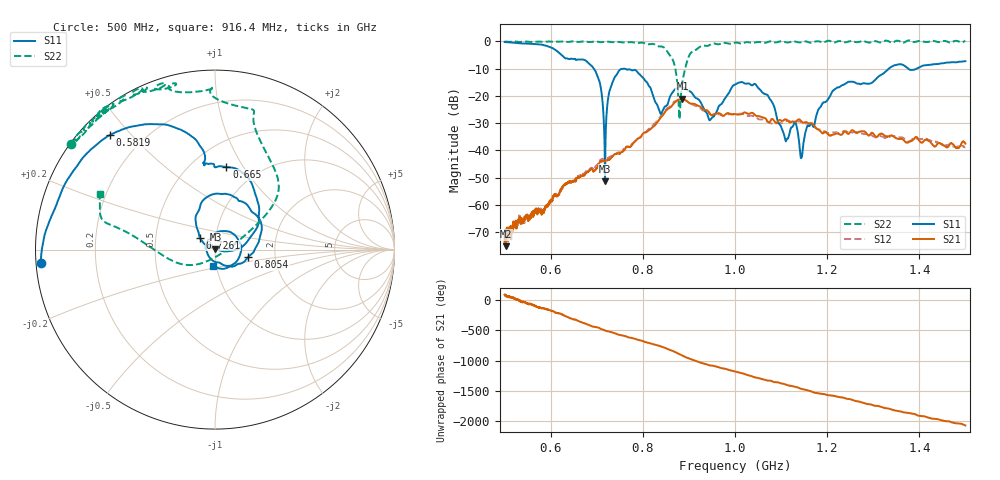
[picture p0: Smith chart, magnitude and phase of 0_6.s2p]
!Agilent Technologies,E8364B,US42250235,A.06.04.32
!Agilent E8364B: A.06.04.32
!Date: Thursday, October 01, 2020 15:42:13
!Correction: S11(Full 2 Port(1,2)) S21(Full 2 Port(1,2)) S12(Full 2 Port(1,2)) S22(Full 2 Port(1,2))
!S2P File: Measurements: S11, S21, S12, S22:
# Hz S  dB  R 50
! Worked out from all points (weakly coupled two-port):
!   2650 points, 500 MHz to 1.5 GHz, reference 50 ohm
!   highest |S21| = -21.07 dB at 885.8 MHz (marker M1); lowest = -75.2 dB at 502.6 MHz (marker M2)
!   lowest |S11| = -51.3 dB at 717.8 MHz (marker M3), VSWR 1.01, Z = 50.2 + j0.154 ohm
!   |S11| at or under -10 dB: 693.5 MHz to 757.8 MHz (64.24 MHz wide, 8.85 % of centre); 760.4 MHz to 1.334 GHz (573.4 MHz wide, 54.8 % of centre); 1.376 GHz to 1.394 GHz (17.96 MHz wide, 1.3 % of centre)
!   |S22| runs from -28.6 to 0.4 dB; largest |S21 - S12| = 0.017
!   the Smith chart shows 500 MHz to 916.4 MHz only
!   S11 on the Smith chart (normalised r, x): 500 MHz: 0.01, -0.04; 581.9 MHz: 0.08, +0.44; 665 MHz: 0.72, +0.84; 726.1 MHz: 0.84, +0.11; 805.4 MHz: 1.45, -0.13; 916.4 MHz: 0.97, -0.18
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5e8  -0.23 -175.5  -73.96 87.4  -74.21 80.6  -0.03 143.6
5.026425e8  -0.25 -176.9  -75.16 74.6  -71.10 69.3  -0.05 144.3
5.819177e8  -1.24 132.7  -63.26 -137.4  -62.68 -140.0  -0.19 131.9
6.649679e8  -6.66 82.2  -49.37 -1.1  -49.20 -1.9  -0.12 125.0
6.668554e8  -6.65 80.3  -49.34 -5.6  -48.95 -7.7  -0.08 124.9
7.023405e8  -13.07 21.6  -45.80 -92.3  -45.10 -93.9  -0.12 122.9
7.17818e8  -51.28 34.2  -43.75 -141.3  -43.18 -141.5  -0.10 114.7
7.261231e8  -19.36 141.6  -43.46 -159.5  -42.62 -160.5  -0.14 118.1
7.533031e8  -10.12 88.4  -40.59 139.6  -40.20 137.4  -0.27 114.6
8.053983e8  -14.42 -12.8  -33.41 26.9  -33.43 23.0  -0.76 105.0
8.337108e8  -24.42 -106.9  -29.17 -31.5  -28.64 -40.8  -1.79 83.6
8.642884e8  -18.76 63.7  -23.40 -118.3  -22.94 -127.8  -6.53 41.8
8.786334e8  -16.85 15.6  -21.34 -170.4  -21.28 179.1  -26.36 -18.7
8.85806e8  -16.85 -8.9  -21.07 162.6  -21.05 151.8  -14.83 -151.9
9.163835e8  -20.87 -96.1  -23.35 70.5  -23.77 61.2  -2.94 154.4
9.477161e8  -28.51 165.4  -26.98 -1.6  -26.96 -9.5  -1.01 135.8
1.000189e9  -15.86 -70.9  -26.70 -101.9  -27.12 -110.0  -0.47 124.2
1.070026e9  -19.59 136.3  -29.21 109.9  -29.47 103.1  -0.29 108.5
1.143639e9  -42.87 -118.9  -29.23 -27.0  -29.60 -34.0  -0.31 107.0
1.166667e9  -30.24 -77.4  -30.01 -73.1  -30.44 -82.1  -0.43 104.4
1.333522e9  -10.04 -138.9  -34.82 6.4  -35.22 8.1  0.01 97.8
1.5e9  -7.25 140.7  -37.54 88.0  -38.89 90.9  0.24 70.0
